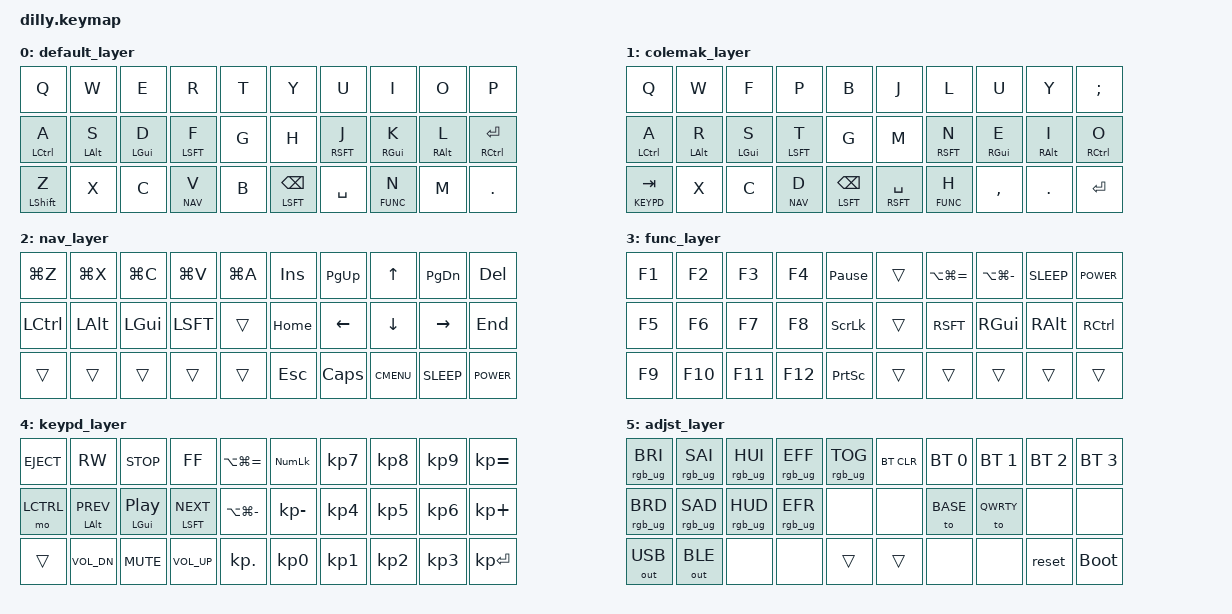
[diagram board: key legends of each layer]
/*
 * Copyright (c) 2021 purple-rw
 *
 * SPDX-License-Identifier: MIT
 */

#include <behaviors.dtsi>
#include <dt-bindings/zmk/keys.h>
#include <dt-bindings/zmk/bt.h>
#include <dt-bindings/zmk/outputs.h>
#include <dt-bindings/zmk/rgb.h>

#define BASE  0     // alphas (Colemak-DH)
#define QWRTY 1     // alphas (Qwerty)
#define NAV   2     // navigation
#define FUNC  3     // functions
#define KEYPD 4     // multimedia & keypad
#define ADJST 5     // bluetooth & rgb

// Special keys
#define ZOOMOUT  LA(LG(MINUS))
#define ZOOMIN   LA(LG(EQUAL))
#define M_UNDO   LG(Z)
#define M_CUT    LG(X)
#define M_COPY   LG(C)
#define M_PASTE  LG(V)
#define M_SELALL LG(A)

&lt {
    tapping-term-ms = <200>;
    quick_tap_ms = <0>;
    flavor = "balanced";
};

&mt {
    tapping-term-ms = <200>;
    quick_tap_ms = <0>;
    flavor = "balanced";
};

/ {
    behaviors {
        hm: homerow_mods {
            compatible = "zmk,behavior-hold-tap";
            label = "HOMEROW_MODS";
            #binding-cells = <2>;
            tapping-term-ms = <300>;
            quick_tap_ms = <0>;
            flavor = "tap-preferred";
            bindings = <&kp>, <&kp>;
        };

// (Horizontal Combos)
// -------------------------------------------------------------
// |  Q  ~  W  |  F  &  P  [  B esc J  ]  L  "  U  '  Y  `  ;  |
// |  A  #  R  =  S  -  T  (  G     M  )  N  _  E  *  I  $  O  |
// | tab %  X  !  C  +  D  {  bs   spc }  H  \  ,  @  .  ^ ent |
// -------------------------------------------------------------
// (Vertical Combos)
// -------------------------------------------------------------
// |  7  |  5  |  3  |  1  |  9  |  8  |  0  |  2  |  4  |  6  |
// |  *  |  *  |  *  |  *  |  *  |  *  |  *  |  *  |  *  |  *  |
// |     |     |     |     |     |     |     |     |     |     |
// -------------------------------------------------------------
// -------------------------------------------------------------
// |     |     |     |     |     |     |     |     |     |     |
// |  *  |  *  |  *  |  *  |  *  |  *  |  *  |  *  |  *  |  *  |
// |  Z  |     |     | esc |  V  |  K  | del |     |  ?  |  /  |
// -------------------------------------------------------------
        combos {
            compatible = "zmk,combos";

            combo_tilde { timeout-ms = <50>; key-positions = < 0  1>; bindings = <&kp TILDE>; layers = <BASE QWRTY>; };
            combo_pipe  { timeout-ms = <50>; key-positions = < 1  2>; bindings = <&kp PIPE>;  layers = <BASE QWRTY>; };
            combo_amps  { timeout-ms = <50>; key-positions = < 2  3>; bindings = <&kp AMPS>;  layers = <BASE QWRTY>; };
            combo_lbkt  { timeout-ms = <50>; key-positions = < 3  4>; bindings = <&kp LBKT>;  layers = <BASE QWRTY>; };
            combo_rbkt  { timeout-ms = <50>; key-positions = < 5  6>; bindings = <&kp RBKT>;  layers = <BASE QWRTY>; };
            combo_dqt   { timeout-ms = <50>; key-positions = < 6  7>; bindings = <&kp DQT>;   layers = <BASE QWRTY>; };
            combo_sqt   { timeout-ms = <50>; key-positions = < 7  8>; bindings = <&kp SQT>;   layers = <BASE QWRTY>; };
            combo_grave { timeout-ms = <50>; key-positions = < 8  9>; bindings = <&kp GRAVE>; layers = <BASE QWRTY>; };

            combo_hash  { timeout-ms = <50>; key-positions = <10 11>; bindings = <&kp HASH>;  layers = <BASE QWRTY>; };
            combo_equal { timeout-ms = <50>; key-positions = <11 12>; bindings = <&kp EQUAL>; layers = <BASE QWRTY>; };
            combo_minus { timeout-ms = <50>; key-positions = <12 13>; bindings = <&kp MINUS>; layers = <BASE QWRTY>; };
            combo_lpar  { timeout-ms = <50>; key-positions = <13 14>; bindings = <&kp LPAR>;  layers = <BASE QWRTY>; };
            combo_rpar  { timeout-ms = <50>; key-positions = <15 16>; bindings = <&kp RPAR>;  layers = <BASE QWRTY>; };
            combo_under { timeout-ms = <50>; key-positions = <16 17>; bindings = <&kp UNDER>; layers = <BASE QWRTY>; };
            combo_star  { timeout-ms = <50>; key-positions = <17 18>; bindings = <&kp STAR>;  layers = <BASE QWRTY>; };
            combo_dllr  { timeout-ms = <50>; key-positions = <18 19>; bindings = <&kp DLLR>;  layers = <BASE QWRTY>; };

            combo_prcnt { timeout-ms = <50>; key-positions = <20 21>; bindings = <&kp PRCNT>; layers = <BASE QWRTY>; };
            combo_excl  { timeout-ms = <50>; key-positions = <21 22>; bindings = <&kp EXCL>;  layers = <BASE QWRTY>; };
            combo_plus  { timeout-ms = <50>; key-positions = <22 23>; bindings = <&kp PLUS>;  layers = <BASE QWRTY>; };
            combo_lbrc  { timeout-ms = <50>; key-positions = <23 24>; bindings = <&kp LBRC>;  layers = <BASE QWRTY>; };
            combo_rbrc  { timeout-ms = <50>; key-positions = <25 26>; bindings = <&kp RBRC>;  layers = <BASE QWRTY>; };
            combo_bslh  { timeout-ms = <50>; key-positions = <26 27>; bindings = <&kp BSLH>;  layers = <BASE QWRTY>; };
            combo_at    { timeout-ms = <50>; key-positions = <27 28>; bindings = <&kp AT>;    layers = <BASE QWRTY>; };
            combo_caret { timeout-ms = <50>; key-positions = <28 29>; bindings = <&kp CARET>; layers = <BASE QWRTY>; };

            combo_n7    { timeout-ms = <50>; key-positions = < 0 10>; bindings = <&kp N7>;    layers = <BASE QWRTY>; };
            combo_n5    { timeout-ms = <50>; key-positions = < 1 11>; bindings = <&kp N5>;    layers = <BASE QWRTY>; };
            combo_n3    { timeout-ms = <50>; key-positions = < 2 12>; bindings = <&kp N3>;    layers = <BASE QWRTY>; };
            combo_n1    { timeout-ms = <50>; key-positions = < 3 13>; bindings = <&kp N1>;    layers = <BASE QWRTY>; };
            combo_n9    { timeout-ms = <50>; key-positions = < 4 14>; bindings = <&kp N9>;    layers = <BASE QWRTY>; };
            combo_n8    { timeout-ms = <50>; key-positions = < 5 15>; bindings = <&kp N8>;    layers = <BASE QWRTY>; };
            combo_n0    { timeout-ms = <50>; key-positions = < 6 16>; bindings = <&kp N0>;    layers = <BASE QWRTY>; };
            combo_n2    { timeout-ms = <50>; key-positions = < 7 17>; bindings = <&kp N2>;    layers = <BASE QWRTY>; };
            combo_n4    { timeout-ms = <50>; key-positions = < 8 18>; bindings = <&kp N4>;    layers = <BASE QWRTY>; };
            combo_n6    { timeout-ms = <50>; key-positions = < 9 19>; bindings = <&kp N6>;    layers = <BASE QWRTY>; };

            combo_z     { timeout-ms = <50>; key-positions = <10 20>; bindings = <&kp Z>;     layers = <BASE QWRTY>; };
            combo_esc   { timeout-ms = <50>; key-positions = <13 23>; bindings = <&kp ESC>;   layers = <BASE QWRTY>; };
            combo_v     { timeout-ms = <50>; key-positions = <14 24>; bindings = <&kp V>;     layers = <BASE>; };
            combo_k     { timeout-ms = <50>; key-positions = <15 25>; bindings = <&kp K>;     layers = <BASE>; };
            combo_del   { timeout-ms = <50>; key-positions = <16 26>; bindings = <&kp DEL>;   layers = <BASE QWRTY>; };
            combo_qmark { timeout-ms = <50>; key-positions = <18 28>; bindings = <&kp QMARK>; layers = <BASE QWRTY>; };
            combo_slash { timeout-ms = <50>; key-positions = <19 29>; bindings = <&kp FSLH>;  layers = <BASE QWRTY>; };
            combo_b     { timeout-ms = <50>; key-positions = <14 24>; bindings = <&kp B>;     layers = <QWRTY>; };
            combo_n     { timeout-ms = <50>; key-positions = <15 25>; bindings = <&kp N>;     layers = <QWRTY>; };
            combo_esc2  { timeout-ms = <50>; key-positions = < 4  5>; bindings = <&kp ESC>;   layers = <BASE QWRTY>; };

            combo_f13   { timeout-ms = <50>; key-positions = < 0  1>; bindings = <&kp F13>;   layers = <FUNC>; };
            combo_f14   { timeout-ms = <50>; key-positions = < 1  2>; bindings = <&kp F14>;   layers = <FUNC>; };
            combo_f15   { timeout-ms = <50>; key-positions = < 2  3>; bindings = <&kp F15>;   layers = <FUNC>; };
            combo_f16   { timeout-ms = <50>; key-positions = < 3  4>; bindings = <&kp F16>;   layers = <FUNC>; };
            combo_f17   { timeout-ms = <50>; key-positions = <10 11>; bindings = <&kp F17>;   layers = <FUNC>; };
            combo_f18   { timeout-ms = <50>; key-positions = <11 12>; bindings = <&kp F18>;   layers = <FUNC>; };
            combo_f19   { timeout-ms = <50>; key-positions = <12 13>; bindings = <&kp F19>;   layers = <FUNC>; };
            combo_f20   { timeout-ms = <50>; key-positions = <13 14>; bindings = <&kp F20>;   layers = <FUNC>; };
            combo_f21   { timeout-ms = <50>; key-positions = <20 21>; bindings = <&kp F21>;   layers = <FUNC>; };
            combo_f22   { timeout-ms = <50>; key-positions = <21 22>; bindings = <&kp F22>;   layers = <FUNC>; };
            combo_f23   { timeout-ms = <50>; key-positions = <22 23>; bindings = <&kp F23>;   layers = <FUNC>; };
            combo_f24   { timeout-ms = <50>; key-positions = <23 24>; bindings = <&kp F24>;   layers = <FUNC>; };

            combo_colon { timeout-ms = <50>; key-positions = < 9 19>; bindings = <&kp COLON>;       layers = <KEYPD>; };
            combo_kpmul { timeout-ms = <50>; key-positions = <15 25>; bindings = <&kp KP_MULTIPLY>; layers = <KEYPD>; };
            combo_kpdiv { timeout-ms = <50>; key-positions = <19 29>; bindings = <&kp KP_DIVIDE>;   layers = <KEYPD>; };

            combo_adjst { timeout-ms = <50>; key-positions = <24 25>; bindings = <&mo ADJST>;    layers = <BASE QWRTY>; };
            combo_bt4   { timeout-ms = <50>; key-positions = < 6  7>; bindings = <&bt BT_SEL 4>; layers = <ADJST>; };
            combo_bt5   { timeout-ms = <50>; key-positions = < 7  8>; bindings = <&bt BT_SEL 5>; layers = <ADJST>; };
            combo_bt6   { timeout-ms = <50>; key-positions = < 8  9>; bindings = <&bt BT_SEL 6>; layers = <ADJST>; };

        };
    };

    keymap {
        compatible = "zmk,keymap";

        
        default_layer {
// (Hold)
// -------------------------------------------------------------
// |     |     |     |     |     |     |     |     |     |     |
// |Ctrl | Alt | Gui |Shift|     |     |Shift| Gui | Alt |Ctrl |
// |KEYPD|     |     | NAV |LShft|RShft|FUNC |     |     |     |
// -------------------------------------------------------------
// Qwerty
// -------------------------------------------------------------
// |  Q  |  W  |  E  |  R  |  T  |  Y  |  U  |  I  |  O  |  P  |
// |  A  |  S  |  D  |  F  |  G  |  H  |  J  |  K  |  L  |  ;  |
// | Tab |  X  |  C  |  V  |BkSpc| Spc |  M  |  ,  |  .  |Enter|
// -------------------------------------------------------------
            bindings = < 
    &kp Q         &kp W      &kp E      &kp R      &kp T         &kp Y          &kp U      &kp I      &kp O      &kp P
    &hm LCTRL A   &hm LALT S &hm LGUI D &hm LSFT F &kp G         &kp H          &hm RSFT J &hm RGUI K &hm RALT L &hm RCTRL ENTER
    &hm LSHIFT Z  &kp X      &kp C      &lt NAV V  &kp B         &mt LSFT BSPC  &kp SPACE  &lt FUNC N &kp M      &kp DOT 
            >;
        } ;
        
        colemak_layer {
// (Hold)
// -------------------------------------------------------------
// |     |     |     |     |     |     |     |     |     |     |
// |Ctrl | Alt | Gui |Shift|     |     |Shift| Gui | Alt |Ctrl |
// |KEYPD|     |     | NAV |LShft|RShft|FUNC |     |     |     |
// -------------------------------------------------------------
// Colemak-DH
// -------------------------------------------------------------
// |  Q  |  W  |  F  |  P  |  B  |  J  |  L  |  U  |  Y  |  ;  |
// |  A  |  R  |  S  |  T  |  G  |  M  |  N  |  E  |  I  |  O  |
// | Tab |  X  |  C  |  D  |BkSpc| Spc |  H  |  ,  |  .  |Enter|
// -------------------------------------------------------------
            bindings = < 
    &kp Q         &kp W      &kp F      &kp P      &kp B         &kp J          &kp L      &kp U      &kp Y      &kp SEMI
    &hm LCTRL A   &hm LALT R &hm LGUI S &hm LSFT T &kp G         &kp M          &hm RSFT N &hm RGUI E &hm RALT I &hm RCTRL O
    &lt KEYPD TAB &kp X      &kp C      &lt NAV D  &mt LSFT BSPC &mt RSFT SPACE &lt FUNC H &kp COMMA  &kp DOT    &kp ENTER
            >;
        } ;

        nav_layer {
// Navigation
// -------------------------------------------------------------
// |Undo | Cut |Copy |Paste|SeAll| Ins |PgUp | Up  |PgDn | Del |
// |LCTRL|LALT |LGUI |LSFT |     |Home |Left |Down |Right| End |
// |     |     |     | *** |     | Esc |CapLk|Menu |Sleep|Power|
// -------------------------------------------------------------
            bindings = <
    &kp M_UNDO &kp M_CUT &kp M_COPY &kp M_PASTE &kp M_SELALL &kp INS  &kp PG_UP &kp UP      &kp PG_DN   &kp DEL
    &kp LCTRL  &kp LALT  &kp LGUI   &kp LSFT    &trans       &kp HOME &kp LEFT  &kp DOWN    &kp RIGHT   &kp END
    &trans     &trans    &trans     &trans      &trans       &kp ESC  &kp CAPS  &kp K_CMENU &kp C_SLEEP &kp C_POWER
            >;
        };

        func_layer {
// Functions
// -------------------------------------------------------------
// | F1  | F2  | F3  | F4  |Pause|     |Zoom-|Zoom+|Sleep|Power|
// | F5  | F6  | F7  | F8  |ScrLk|     |RSFT |RGUI |RALT |RCTRL|
// | F9  | F10 | F11 | F12 |PrnSc|     | *** |     |     |     |
// -------------------------------------------------------------
            bindings = <
    &kp F1  &kp F2  &kp F3  &kp F4  &kp PAUSE_BREAK &trans  &kp ZOOMIN &kp ZOOMOUT &kp C_SLEEP &kp C_POWER
    &kp F5  &kp F6  &kp F7  &kp F8  &kp SLCK        &trans  &kp RSFT   &kp RGUI    &kp RALT    &kp RCTRL
    &kp F9  &kp F10 &kp F11 &kp F12 &kp PSCRN       &trans  &trans     &trans      &trans      &trans
            >;
        };

        keypd_layer {
// Multimedia & Keypad
// (Hold)
// -------------------------------------------------------------
// |     |     |     |     |     |     |     |     |     |     |
// |Ctrl | Alt | Gui |Shift|     |     |     |     |     |     |
// | *** |     |     |     |     |     |     |     |     |     |
// -------------------------------------------------------------
// -------------------------------------------------------------
// |Eject|Rewnd|Stop |FFwd |Zoom+|NumLk|  7  |  8  |  9  |  =  |
// |     |Prev |Play |Next |Zoom-|  -  |  4  |  5  |  6  |  +  |
// | *** |Vol- |Mute |Vol+ |  .  |  0  |  1  |  2  |  3  |Enter|
// -------------------------------------------------------------
            bindings = <
    &kp C_EJECT &kp C_RW        &kp C_STOP    &kp C_FF        &kp ZOOMIN  &kp KP_NUM   &kp KP_N7  &kp KP_N8  &kp KP_N9  &kp KP_EQUAL
    &mo LCTRL   &hm LALT C_PREV &hm LGUI C_PP &hm LSFT C_NEXT &kp ZOOMOUT &kp KP_MINUS &kp KP_N4  &kp KP_N5  &kp KP_N6  &kp KP_PLUS
    &trans      &kp C_VOL_DN    &kp K_MUTE    &kp C_VOL_UP    &kp KP_DOT  &kp KP_N0    &kp KP_N1  &kp KP_N2  &kp KP_N3  &kp KP_ENTER
            >;
        };

        adjst_layer {
//  v----------- RGB -----------v
// -------------------------------------------------------------
// |Bri+ |Sat+ |Hue+ |Ani+ |Toggl|BTClr| BT0 | BT1 | BT2 | BT3 |
// |Bri- |Sat- |Hue- |Ani- |     |     |Colmk|Qwrty|     |     |
// | USB | BLE |     |     | *** | *** |     |     |Reset|BootL|
// -------------------------------------------------------------
            bindings = <
    &rgb_ug RGB_BRI &rgb_ug RGB_SAI &rgb_ug RGB_HUI &rgb_ug RGB_EFF &rgb_ug RGB_TOG &bt BT_CLR &bt BT_SEL 0 &bt BT_SEL 1 &bt BT_SEL 2 &bt BT_SEL 3
    &rgb_ug RGB_BRD &rgb_ug RGB_SAD &rgb_ug RGB_HUD &rgb_ug RGB_EFR &none           &none      &to BASE     &to QWRTY    &none        &none
    &out OUT_USB    &out OUT_BLE    &none           &none           &trans          &trans     &none        &none        &reset       &bootloader
            >;
        };
    };
};
